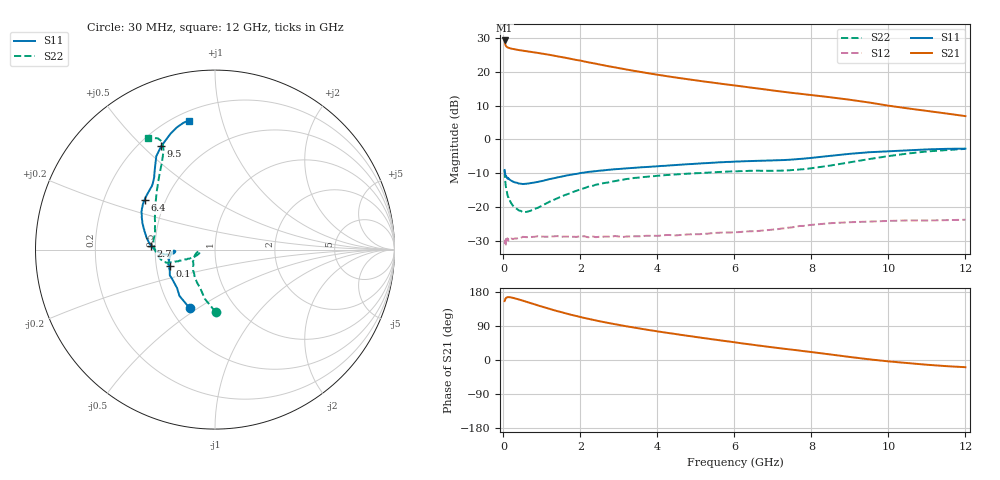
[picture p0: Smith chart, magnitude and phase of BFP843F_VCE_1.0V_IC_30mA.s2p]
! Infineon Technologies  Discrete & RF Semiconductors
! BFP843F
! VCE =  1.0 V,  IC =  30 mA
! Common Emitter S-Parameters:  Aug 2013
# GHz  S  MA  R  50
!  f  S11  S21  S12  S22
! GHz  MAG  ANG  MAG  ANG  MAG  ANG  MAG  ANG
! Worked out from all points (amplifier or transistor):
!   103 points, 30 MHz to 12 GHz, reference 50 ohm
!   highest |S21| = 29.2 dB at 30 MHz (marker M1)
!   |S21| within 3 dB of that: start of sweep to 498.5 MHz
!   unconditionally stable (mu >= 1): 120.8 MHz to end of sweep
!   at 400 MHz: K = 1.03, MAG = 26.7 dB, |S12| = -29.0 dB
!   at 3.7 GHz: K = 1.25, MAG = 21.0 dB, |S12| = -28.4 dB
!   at 12 GHz: K = 1.20, MAG = 12.6 dB, |S12| = -23.6 dB
!   S11 on the Smith chart (normalised r, x): 30 MHz: 0.62, -0.46; 100 MHz: 0.59, -0.11; 2.7 GHz: 0.48, +0.02; 6.4 GHz: 0.38, +0.27; 9.5 GHz: 0.29, +0.57; 12 GHz: 0.25, +0.78
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0.03  0.3553 -113.5  28.79 155.7  0.0293 21.7  0.3481 -89.4
0.04  0.325 -127.6  26.35 157.9  0.0323 18.9  0.2795 -101.8
0.05  0.3009 -134.6  24.91 161.3  0.0328 18.8  0.234 -110.0
0.07  0.2897 -150.3  23.64 163.9  0.036 9.7  0.1904 -126.4
0.1  0.2672 -160.6  22.84 165.5  0.035 11.0  0.1556 -142.0
0.13  0.2632 -166.4  22.46 166.0  0.0325 8.5  0.1401 -151.9
0.2  0.2479 -174.9  21.83 165.1  0.0347 6.9  0.1155 -165.0
0.8  0.2321 -174.5  19.22 147.2  0.0368 5.2  0.0944 -165.0
1.2  0.2608 -173.5  17.67 134.9  0.0371 4.7  0.1214 -161.2
1.6  0.2915 -175.3  16.05 123.6  0.0371 5.7  0.1521 -160.5
2.1  0.3261 -178.8  14.11 111.0  0.0375 5.5  0.1918 -162.3
2.7  0.3561 176.5  12.09 98.2  0.0371 8.5  0.2318 -163.4
3.4  0.3823 170.9  10.25 85.4  0.0375 11.4  0.2714 -164.5
4.1  0.4075 165.1  8.826 74.0  0.0385 14.0  0.2945 -167.2
5  0.4396 157.7  7.437 60.7  0.0402 18.1  0.3183 -173.3
6.1  0.4743 148.0  6.158 45.3  0.0431 21.5  0.3405 176.6
6.4  0.4806 144.8  5.846 41.2  0.0444 22.3  0.3457 173.5
7.2  0.4962 136.1  5.101 30.8  0.0486 25.3  0.3473 164.5
8.5  0.5749 125.4  4.185 14.5  0.0585 22.8  0.4138 143.5
9.5  0.6491 117.5  3.506 1.8  0.0617 18.8  0.5145 127.2
10.5  0.6917 111.0  2.875 -8.1  0.0642 16.5  0.6205 117.5
12  0.7339 101.6  2.21 -19.0  0.0657 16.8  0.727 121.1
